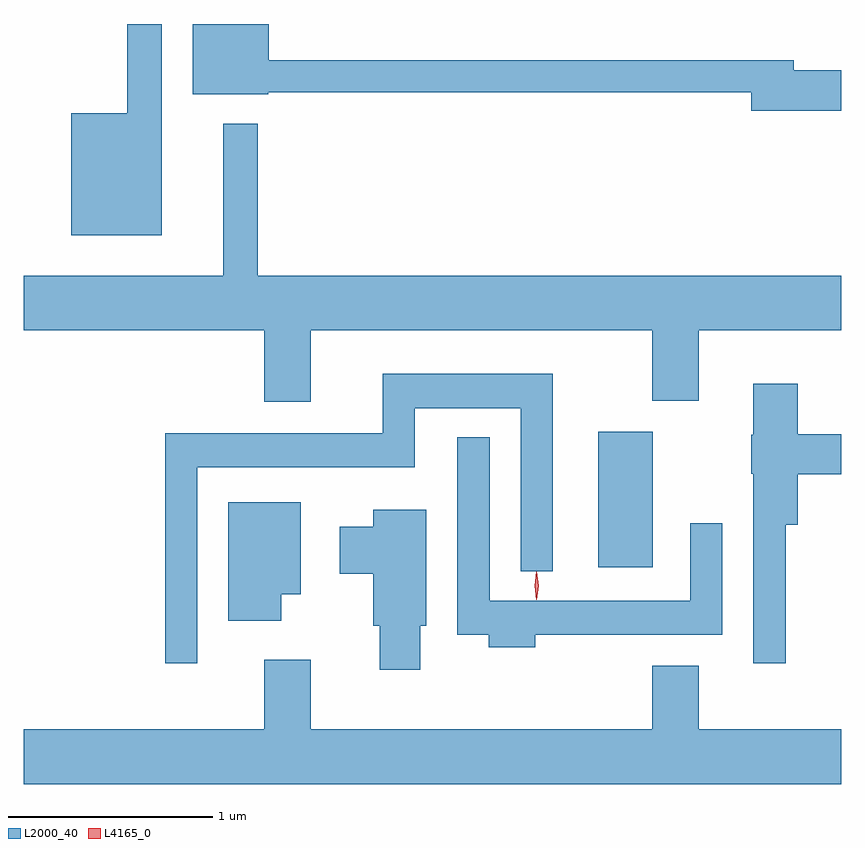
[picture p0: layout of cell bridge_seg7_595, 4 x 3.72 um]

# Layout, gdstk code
import gdstk
lib = gdstk.Library(unit=1e-6, precision=1e-09)
def R(c, l, rs):  # rectangles x0, y0, x1, y1
    for r in rs: c.add(gdstk.rectangle(r[:2], r[2:], *l))
def P(c, l, *ps):  # polygons
    for p in ps: c.add(gdstk.Polygon(p, *l))
L2000_40 = (2000, 40)
L4165_0 = (4165, 0)

bridge_seg7_595 = lib.new_cell('bridge_seg7_595')
R(bridge_seg7_595, L2000_40, [(625.586,1735.356,625.854,1736.019)])
P(bridge_seg7_595, L2000_40, [(623.449,1738.016),(623.281,1738.016),(623.281,1737.579),(623.006,1737.579),(623.006,1736.981),(623.449,1736.981)],
  [(626.775,1737.789),(626.544,1737.789),(626.544,1737.839),(623.974,1737.839),(623.974,1738.016),(623.601,1738.016),(623.601,1737.671),(623.97,1737.671),(623.97,1737.681),(626.336,1737.681),(626.336,1737.591),(626.775,1737.591)],
  [(624.179,1736.516),(625.851,1736.516),(625.851,1736.171),(626.079,1736.171),(626.079,1736.516),(626.775,1736.516),(626.775,1736.784),(623.919,1736.784),(623.919,1737.528),(623.751,1737.528),(623.751,1736.784),(622.775,1736.784),(622.775,1736.516),(623.951,1736.516),(623.951,1736.166),(624.179,1736.166)],
  [(623.624,1735.846),(624.689,1735.846),(624.689,1736.136),(625.206,1736.136),(625.206,1735.338),(625.364,1735.338),(625.364,1736.304),(624.531,1736.304),(624.531,1736.014),(623.466,1736.014),(623.466,1734.888),(623.624,1734.888)],
  [(626.504,1735.566),(626.564,1735.566),(626.564,1735.811),(626.775,1735.811),(626.775,1736.009),(626.564,1736.009),(626.564,1736.254),(626.346,1736.254),(626.346,1736.005),(626.336,1736.005),(626.336,1735.815),(626.346,1735.815),(626.346,1734.888),(626.504,1734.888)],
  [(625.279,1735.026),(626.194,1735.026),(626.194,1735.573),(626.036,1735.573),(626.036,1735.194),(625.054,1735.194),(625.054,1735.993),(624.896,1735.993),(624.896,1735.026),(625.051,1735.026),(625.051,1734.966),(625.279,1734.966)],
  [(624.034,1735.226),(624.129,1735.226),(624.129,1735.674),(623.776,1735.674),(623.776,1735.096),(624.034,1735.096)],
  [(624.714,1735.071),(624.744,1735.071),(624.744,1735.639),(624.486,1735.639),(624.486,1735.554),(624.321,1735.554),(624.321,1735.326),(624.486,1735.326),(624.486,1735.071),(624.516,1735.071),(624.516,1734.856),(624.714,1734.856)],
  [(626.775,1734.564),(626.079,1734.564),(626.079,1734.874),(625.851,1734.874),(625.851,1734.564),(624.179,1734.564),(624.179,1734.904),(623.951,1734.904),(623.951,1734.564),(622.775,1734.564),(622.775,1734.296),(626.775,1734.296)])
P(bridge_seg7_595, L4165_0, [(625.284,1735.197),(625.275,1735.267),(625.284,1735.336),(625.285,1735.336),(625.285,1735.336),(625.295,1735.267),(625.285,1735.197),(625.285,1735.197)],
  [(625.286,1735.199),(625.285,1735.2),(625.276,1735.266),(625.285,1735.332),(625.286,1735.333),(625.286,1735.332),(625.296,1735.266),(625.286,1735.2)])

lib.write_gds('bridge_seg7_595.gds')
